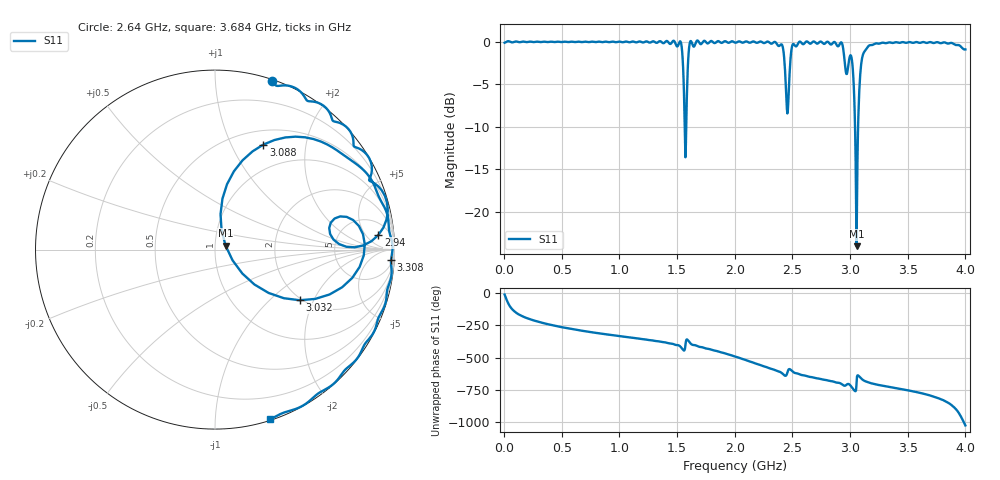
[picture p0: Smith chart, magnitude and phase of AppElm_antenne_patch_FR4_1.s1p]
! TOUCHSTONE file generated by CST MICROWAVE STUDIO
! Date and time: Tue Jun  7 20:51:50 2022
! Project name: AppElm_antenne_patch_FR4.cst
! Parameters = {L=45; W=58.5; e=0.035; h=1.6; lambda=0.190476; ls=120; w0=1.6; w1=0.533333; ws=120; y0=20; y1=17.86}
! Header version: 2018
! Port assignment regex: !\s*Touchstone port\s*([0-9]+)\s*=\s*(CST MWS port|CST DS port)\s*([0-9]+|Zmin|Zmax)\s*\(\"(.*)\"\)(\s*mode\s*([0-9]+))?.*
! Touchstone port assignment:
! Touchstone port 1 = CST MWS port 1 ("")
# GHz S MA R 50
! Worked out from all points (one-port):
!   1000 points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, 4 MHz to 4 GHz, reference 50 ohm
!   lowest |S11| = -24.0 dB at 3.056 GHz (marker M1), VSWR 1.13, Z = 56.2 + j2.55 ohm
!   |S11| at or under -10 dB: 1.566 GHz to 1.579 GHz (13.05 MHz wide, 0.83 % of centre); 3.043 GHz to 3.07 GHz (26.64 MHz wide, 0.872 % of centre)
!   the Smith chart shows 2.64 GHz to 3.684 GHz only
!   S11 on the Smith chart (normalised r, x): 2.64 GHz: 0.02, +1.39; 2.94 GHz: 11, +11; 3.032 GHz: 1.95, -1.57; 3.088 GHz: 0.67, +1.34; 3.308 GHz: 9, -31; 3.684 GHz: 0.01, -1.37
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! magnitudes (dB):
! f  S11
! 4 MHz  -0.1
! 504 MHz  0.0
! 1.004 GHz  0.0
! 1.504 GHz  -0.5
! 1.536 GHz  -0.3
! 1.56 GHz  -6.3
! 1.572 GHz  -13.6
! 1.62 GHz  0.1
! 2.004 GHz  -0.1
! 2.4 GHz  -0.3
! 2.456 GHz  -8.4
! 2.504 GHz  -0.3
! 2.64 GHz  -0.1
! 2.94 GHz  -0.8
! 2.968 GHz  -3.8
! 3.004 GHz  -1.6
! 3.02 GHz  -2.6
! 3.032 GHz  -5.2
! 3.044 GHz  -10.6
! 3.056 GHz  -24.0
! 3.072 GHz  -8.6
! 3.088 GHz  -3.8
! 3.108 GHz  -1.7
! 3.136 GHz  -0.9
! 3.308 GHz  -0.2
! 3.504 GHz  -0.1
! 3.684 GHz  -0.1
! 4 GHz  -0.9
